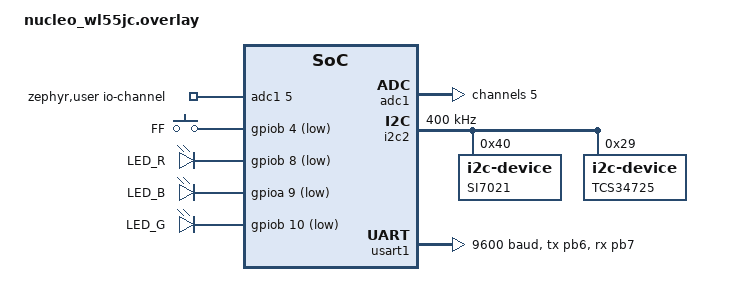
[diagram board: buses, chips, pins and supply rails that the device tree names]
/*
 * SPDX-License-Identifier: Apache-2.0
 *
 * Copyright (c) 2022 QRTECH
 */

/ {
	zephyr,user {
		io-channels = <&adc1 5>;
	};

	gpio_keys {
		compatible = "gpio-keys";

		accel_interrup: adc_in1_pb4 {
			label = "FF";
			gpios = <&gpiob 4 (GPIO_ACTIVE_LOW | GPIO_PULL_UP)>;
			zephyr,code = <INPUT_KEY_3>;
		};
	};

	aliases {
		ff0 = &accel_interrup;
	};
};

&adc1 {
	#address-cells = <1>;
	#size-cells = <0>;

	channel@5 {
		reg = <5>;
		zephyr,gain = "ADC_GAIN_1";
		zephyr,reference = "ADC_REF_INTERNAL";
		zephyr,acquisition-time = <ADC_ACQ_TIME_DEFAULT>;
		zephyr,resolution = <12>;
	};
};

&i2c2 {
	status = "okay";
	clock-frequency = <I2C_BITRATE_FAST>; // 400kHz

	/* Needed for DT_NODELABEL(si7021) in humidity_sensor.c */
	si7021: si7021@40 {
		compatible = "zephyr,i2c-device";
		reg = <0x40>;
		label = "SI7021";
	};

	tcs34725: tcs34725@29 {
    	compatible = "zephyr,i2c-device";  /* generic node for raw I2C access */
        reg = <0x29>;                      /* 7-bit address of TCS34725 */
        label = "TCS34725";
        status = "okay";
    };
};

&usart1 {
	dmas = <&dmamux1 11 18 (STM32_DMA_PERIPH_TX | STM32_DMA_PRIORITY_HIGH)
		&dmamux1 1 17 (STM32_DMA_PERIPH_RX | STM32_DMA_PRIORITY_HIGH)>;
	dma-names = "tx", "rx";
	pinctrl-0 = <&usart1_tx_pb6 &usart1_rx_pb7>;
	pinctrl-names = "default";
	current-speed = <9600>;
	status = "okay";
};

&dma1 {
	status = "okay";
};

&dma2 {
	status = "okay";
};

&dmamux1 {
	status = "okay";
};

&gpiob {
	status = "okay";
};

/ {
    leds {
        compatible = "gpio-leds";
        rgb_led_r: rgb_led_r { gpios = <&gpiob 8  GPIO_ACTIVE_LOW>; label = "LED_R"; };
        rgb_led_b: rgb_led_b { gpios = <&gpioa 9  GPIO_ACTIVE_LOW>; label = "LED_B"; };
        rgb_led_g: rgb_led_g { gpios = <&gpiob 10 GPIO_ACTIVE_LOW>; label = "LED_G"; }; 
    };

    aliases {
        led0r = &rgb_led_r;
        led0g = &rgb_led_g;
        led0b = &rgb_led_b;
    };
};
